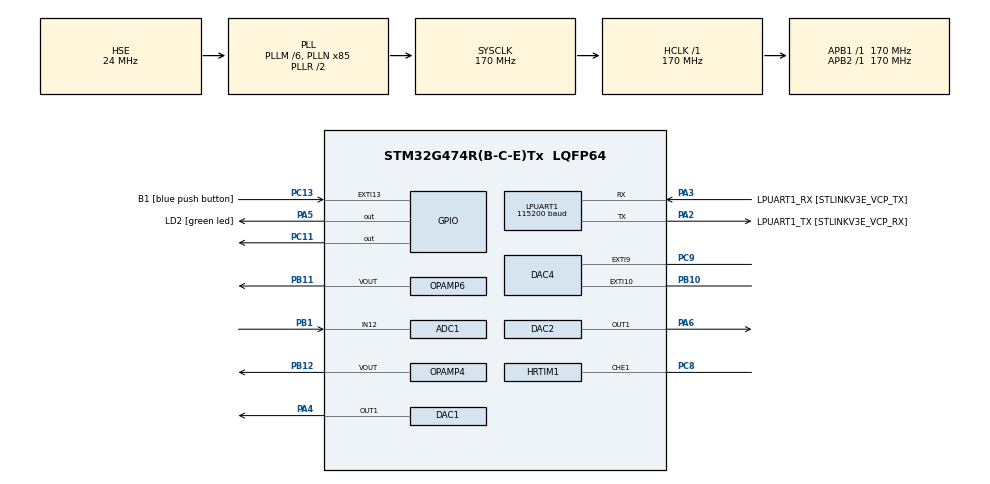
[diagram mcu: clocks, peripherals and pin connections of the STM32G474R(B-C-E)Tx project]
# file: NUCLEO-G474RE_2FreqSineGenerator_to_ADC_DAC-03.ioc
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Mcu.Family=STM32G4
HRTIM1.NumberSetSource1-Output_TE1=1
RCC.CortexFreq_Value=170000000
HRTIM1.InterleavedMode-Output_TE1=HRTIM_INTERLEAVED_MODE_DISABLED
Dma.DAC3_CH1.0.Polarity=HAL_DMAMUX_REQ_GEN_RISING
Dma.ADC1.1.MemDataAlignment=DMA_MDATAALIGN_WORD
ADC1.Overrun=ADC_OVR_DATA_OVERWRITTEN
Dma.DAC4_CH1.2.SyncPolarity=HAL_DMAMUX_SYNC_NO_EVENT
Dma.DAC3_CH1.0.MemInc=DMA_MINC_ENABLE
DAC2.DAC_HighFrequency_OUT1-DAC_OUT1=DAC_HIGH_FREQUENCY_INTERFACE_MODE_ABOVE_160MHZ
PA14.GPIO_Label=T_SWCLK
Dma.DAC3_CH1.0.PeriphInc=DMA_PINC_DISABLE
Dma.ADC1.1.SyncEnable=DISABLE
SH.COMP_DAC21_group.0=DAC2_OUT1,DAC_OUT1
Dma.DAC4_CH1.2.Polarity=HAL_DMAMUX_REQ_GEN_RISING
LPUART1.WordLength=UART_WORDLENGTH_8B
PC13.GPIO_Label=B1 [blue push button]
PB11.Signal=OPAMP6_VOUT
RCC.SYSCLKSource=RCC_SYSCLKSOURCE_PLLCLK
ProjectManager.StackSize=0x400
Dma.DAC3_CH1.0.MemDataAlignment=DMA_MDATAALIGN_WORD
Dma.DAC4_CH1.2.SyncRequestNumber=1
Dma.DAC3_CH1.0.SyncPolarity=HAL_DMAMUX_SYNC_NO_EVENT
Dma.DAC3_CH1.0.SyncEnable=DISABLE
HRTIM1.CompareUnit4-Output_TE1=HRTIM_COMPAREUNIT_4
Dma.ADC1.1.Instance=DMA1_Channel2
Dma.ADC1.1.SyncPolarity=HAL_DMAMUX_SYNC_NO_EVENT
DAC4.DAC_Trigger2_OUT1-DAC_OUT1_Int=DAC_TRIGGER_NONE
RCC.HCLKFreq_Value=170000000
RCC.APB2TimFreq_Value=170000000
DAC3.DAC_Trigger_OUT1-DAC_OUT1_Int=DAC_TRIGGER_T6_TRGO
Dma.ADC1.1.PeriphDataAlignment=DMA_PDATAALIGN_WORD
HRTIM1.CompareUnit3-Output_TE1=__NULL
HRTIM1.CompareUnit2-Output_TE1=__NULL
RCC.AHBFreq_Value=170000000
HRTIM1.NumberResetSource1-Output_TE1=1
HRTIM1.ORingUpdateSource_ADCTrigger1=HRTIM_ADCTRIGGERUPDATE_TIMER_E
Dma.DAC4_CH1.2.RequestNumber=1
ADC1.Channel-0\#ChannelRegularConversion=ADC_CHANNEL_12
RCC.HSE_VALUE=24000000
Dma.DAC4_CH1.2.MemDataAlignment=DMA_MDATAALIGN_WORD
PB3.Mode=Trace_Asynchronous_SW
OPAMP6.PowerMode=OPAMP_POWERMODE_HIGHSPEED
RCC.ADC12Freq_Value=170000000
RCC.RTCClockSelection=RCC_RTCCLKSOURCE_LSE
VP_DAC3_VS_DACI1.Mode=DAC_OUT1_Int
PC14-OSC32_IN.Mode=LSE-External-Oscillator
PA14.Mode=Trace_Asynchronous_SW
Dma.ADC1.1.Priority=DMA_PRIORITY_LOW
Dma.DAC4_CH1.2.SignalID=NONE
VP_SYS_VS_DBSignals.Mode=DisableDeadBatterySignals
HRTIM1.CompareValue4-Output_TE1=54400/2
Dma.ADC1.1.Mode=DMA_CIRCULAR
HRTIM1.ResetOutput1_Source1-Output_TE1=HRTIM_OUTPUTRESET_TIMCMP4
OPAMP4.PowerMode=OPAMP_POWERMODE_HIGHSPEED
ADC1.SamplingTime-0\#ChannelRegularConversion=ADC_SAMPLETIME_12CYCLES_5
DAC2.DAC_Trigger_OUT1-DAC_OUT1=DAC_TRIGGER_SOFTWARE
Dma.DAC4_CH1.2.Direction=DMA_MEMORY_TO_PERIPH
Mcu.Package=LQFP64
PB1.Signal=ADC1_IN12
PA6.Signal=COMP_DAC21_group
PB12.Mode=Follower-DAC_OUT2-INP
Dma.DAC3_CH1.0.Mode=DMA_CIRCULAR
DAC1.DAC_HighFrequency_OUT1-DAC_OUT1=DAC_HIGH_FREQUENCY_INTERFACE_MODE_ABOVE_160MHZ
Dma.ADC1.1.Direction=DMA_PERIPH_TO_MEMORY
TIM6.PeriodNoDither=5-1
PA2.GPIO_Label=LPUART1_TX [STLINKV3E_VCP_RX]
Dma.ADC1.1.MemInc=DMA_MINC_ENABLE
HRTIM1.ADCTrigger1_Source1=HRTIM_ADCTRIGGEREVENT13_TIMERE_PERIOD
HRTIM1.NumberADCTriggerSource1=1
Dma.Request2=DAC4_CH1
Dma.Request1=ADC1
RCC.APB1TimFreq_Value=170000000
PF1-OSC_OUT.Mode=HSE-External-Oscillator
Dma.Request0=DAC3_CH1
Dma.DAC4_CH1.2.SyncSignalID=NONE
PF1-OSC_OUT.Signal=RCC_OSC_OUT
RCC.HSI48_VALUE=48000000
PC9.GPIO_ModeDefaultEXTI=GPIO_MODE_IT_RISING_FALLING
Dma.ADC1.1.SignalID=NONE
PA3.Signal=LPUART1_RX
PB3.GPIO_Label=T_SWO
RCC.PLLSourceVirtual=RCC_PLLSOURCE_HSE
PC15-OSC32_OUT.Mode=LSE-External-Oscillator
ADC1.Rank-0\#ChannelRegularConversion=1
Dma.DAC4_CH1.2.PeriphInc=DMA_PINC_DISABLE
Dma.ADC1.1.SyncSignalID=NONE
ADC1.OffsetNumber-0\#ChannelRegularConversion=ADC_OFFSET_NONE
PC13.Signal=GPXTI13
PC11.Signal=GPIO_Output
Dma.ADC1.1.RequestNumber=1
PC8.Signal=HRTIM1_CHE1
TIM6.Prescaler=17-1
VP_TIM6_VS_ClockSourceINT.Mode=Enable_Timer
RCC.EXTERNAL_CLOCK_VALUE=12288000
PC14-OSC32_IN.Signal=RCC_OSC32_IN
Dma.DAC3_CH1.0.Instance=DMA1_Channel1
HRTIM1.PrescalerRatio_TE=HRTIM_PRESCALERRATIO_MUL16
Dma.DAC4_CH1.2.Mode=DMA_CIRCULAR
HRTIM1.CompareUnit1-Output_TE1=__NULL
PA13.Signal=SYS_JTMS-SWDIO
PA3.Mode=Asynchronous
DAC4.DAC_Trigger_OUT1-DAC_OUT1_Int=DAC_TRIGGER_EXT_IT9
DAC4.DAC_HighFrequency_OUT1-DAC_OUT1_Int=DAC_HIGH_FREQUENCY_INTERFACE_MODE_ABOVE_160MHZ
Dma.DAC3_CH1.0.Direction=DMA_MEMORY_TO_PERIPH
PB11.Mode=Follower-DAC_OUT2-INP
NVIC.DMA1_Channel2_IRQn=true\:0\:0\:false\:false\:true\:false\:true
ProjectManager.TargetToolchain=STM32CubeIDE
SH.COMP_DAC11_group.0=DAC1_OUT1,DAC_OUT1
VP_DAC4_VS_DACI1.Mode=DAC_OUT1_Int
RCC.USBFreq_Value=170000000
Dma.ADC1.1.Polarity=HAL_DMAMUX_REQ_GEN_RISING
PC15-OSC32_OUT.Signal=RCC_OSC32_OUT
PF0-OSC_IN.Mode=HSE-External-Oscillator
Dma.DAC4_CH1.2.SyncEnable=DISABLE
PB10.Signal=GPXTI10
Dma.DAC3_CH1.0.EventEnable=DISABLE
Dma.ADC1.1.SyncRequestNumber=1
PA5.Signal=GPIO_Output
HRTIM1.ADCTrigger_Id1=HRTIM_ADCTRIGGER_1
Dma.DAC3_CH1.0.SyncRequestNumber=1
board=NUCLEO-G474RE
RCC.VCOOutputFreq_Value=340000000
Dma.DAC4_CH1.2.Priority=DMA_PRIORITY_MEDIUM
RCC.ADC345Freq_Value=170000000
RCC.APB2Freq_Value=170000000
TIM6.TIM_MasterOutputTrigger=TIM_TRGO_UPDATE
Dma.DAC3_CH1.0.SignalID=NONE
Dma.ADC1.1.PeriphInc=DMA_PINC_DISABLE
ADC1.DMAContinuousRequests=ENABLE
PA13.Mode=Trace_Asynchronous_SW
PB10.GPIO_ModeDefaultEXTI=GPIO_MODE_IT_FALLING
Mcu.Name=STM32G474R(B-C-E)Tx
LPUART1.BaudRate=115200
PA13.GPIO_Label=T_SWDIO
PA2.Signal=LPUART1_TX
HRTIM1.SetOutput1_Source1-Output_TE1=HRTIM_OUTPUTSET_TIMPER
Dma.DAC3_CH1.0.PeriphDataAlignment=DMA_PDATAALIGN_WORD
ADC1.ExternalTrigConv=ADC_EXTERNALTRIG_HRTIM_TRG1
Dma.DAC3_CH1.0.Priority=DMA_PRIORITY_HIGH
PC8.Mode=Output_TE1
PC8.GPIO_Speed_High_Default=GPIO_SPEED_FREQ_LOW
PB3.Signal=SYS_JTDO-SWO
PA4.Signal=COMP_DAC11_group
RCC.SYSCLKFreq_VALUE=170000000
ADC1.master=1
DAC3.DAC_HighFrequency_OUT1-DAC_OUT1_Int=DAC_HIGH_FREQUENCY_INTERFACE_MODE_ABOVE_160MHZ
PA5.GPIO_Label=LD2 [green led]
Dma.DAC3_CH1.0.RequestNumber=1
PA14.Signal=SYS_JTCK-SWCLK
NVIC.DMA2_Channel1_IRQn=true\:0\:0\:false\:false\:true\:false\:true
ProjectManager.HeapSize=0x200
PB1.Mode=IN12-Single-Ended
RCC.HSI_VALUE=16000000
NVIC.PriorityGroup=NVIC_PRIORITYGROUP_4
ADC1.NbrOfConversionFlag=1
RCC.PLLM=RCC_PLLM_DIV6
Dma.DAC4_CH1.2.MemInc=DMA_MINC_ENABLE
RCC.PLLN=85
Dma.DAC3_CH1.0.SyncSignalID=NONE
Dma.DAC4_CH1.2.EventEnable=DISABLE
PA2.Mode=Asynchronous
Dma.DAC4_CH1.2.Instance=DMA2_Channel1
PC9.Signal=GPXTI9
NVIC.DMA1_Channel1_IRQn=true\:0\:0\:false\:false\:true\:false\:true
PF0-OSC_IN.Signal=RCC_OSC_IN
Dma.ADC1.1.EventEnable=DISABLE
Dma.DAC4_CH1.2.PeriphDataAlignment=DMA_PDATAALIGN_WORD
RCC.APB1Freq_Value=170000000
PB12.Signal=OPAMP4_VOUT
HRTIM1.Periode_TE=54400
PA3.GPIO_Label=LPUART1_RX [STLINKV3E_VCP_TX]

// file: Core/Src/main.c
/* USER CODE BEGIN Header */
/**
  ******************************************************************************
  * @file           : main.c
  * @brief          : Main program body
  ******************************************************************************
  * @attention
  *
  * <h2><center>&copy; Copyright (c) 2021 STMicroelectronics.
  * All rights reserved.</center></h2>
  *
  * This software component is licensed by ST under BSD 3-Clause license,
  * the "License"; You may not use this file except in compliance with the
  * License. You may obtain a copy of the License at:
  *                        opensource.org/licenses/BSD-3-Clause
  *
  ******************************************************************************
  */
/* USER CODE END Header */
#include "main.h"

/* USER CODE BEGIN Includes */

#include "waveforms.h"
#include <stdio.h>
#include "stm32g4xx_hal_dma.h"

/* USER CODE END Includes */

/* USER CODE BEGIN PD */

# define MySine4000_SIZE MySine2000_SIZE

/* USER CODE END PD */

ADC_HandleTypeDef hadc1;
DMA_HandleTypeDef hdma_adc1;

DAC_HandleTypeDef hdac1;
DAC_HandleTypeDef hdac2;
DAC_HandleTypeDef hdac3;
DAC_HandleTypeDef hdac4;
DMA_HandleTypeDef hdma_dac3_ch1;
DMA_HandleTypeDef hdma_dac4_ch1;

HRTIM_HandleTypeDef hhrtim1;

UART_HandleTypeDef hlpuart1;

OPAMP_HandleTypeDef hopamp4;
OPAMP_HandleTypeDef hopamp6;

TIM_HandleTypeDef htim6;

/* USER CODE BEGIN PV */

uint32_t MySine4000[MySine4000_SIZE];
uint32_t pass, period;
uint32_t adc_dac_value;

/* USER CODE END PV */

void SystemClock_Config(void);
static void MX_GPIO_Init(void);
static void MX_DMA_Init(void);
static void MX_LPUART1_UART_Init(void);
static void MX_DAC3_Init(void);
static void MX_OPAMP6_Init(void);
static void MX_TIM6_Init(void);
static void MX_HRTIM1_Init(void);
static void MX_DAC4_Init(void);
static void MX_OPAMP4_Init(void);
static void MX_ADC1_Init(void);
static void MX_DAC1_Init(void);
static void MX_DAC2_Init(void);
/* USER CODE BEGIN PFP */

#define PUTCHAR_PROTOTYPE int __io_putchar(int ch)

/* USER CODE END PFP */

int main(void)
{

  /* MCU Configuration--------------------------------------------------------*/

  /* Reset of all peripherals, Initializes the Flash interface and the Systick. */
  HAL_Init();

  /* Configure the system clock */
  SystemClock_Config();

  /* Initialize all configured peripherals */
  MX_GPIO_Init();
  MX_DMA_Init();
  MX_LPUART1_UART_Init();
  MX_DAC3_Init();
  MX_OPAMP6_Init();
  MX_TIM6_Init();
  MX_HRTIM1_Init();
  MX_DAC4_Init();
  MX_OPAMP4_Init();
  MX_ADC1_Init();
  MX_DAC1_Init();
  MX_DAC2_Init();
  /* USER CODE BEGIN 2 */

  for (uint16_t cntr = 0; cntr < MySine2000_SIZE; cntr++)
  {
	  MySine2000[cntr] += 682;
	  MySine2000[cntr] += MySine200[cntr % MySine200_SIZE];
  }

  /*##- Enable DAC Channel and associated DMA ##############################*/
  if(HAL_OK != HAL_DAC_Start_DMA(&hdac3, DAC_CHANNEL_1,
  				   (uint32_t*)MySine2000, MySine2000_SIZE, DAC_ALIGN_12B_R))
  {
  	/* Start DMA Error */
  	Error_Handler();
  }

  /*##- Enable DAC Channel ##############################*/
  if(HAL_OK != HAL_DAC_Start(&hdac1, DAC_CHANNEL_1))
  {
  	/* Start Error */
  	Error_Handler();
  }

  /*##- Enable DAC Channel ##############################*/
  if(HAL_OK != HAL_DAC_Start(&hdac2, DAC_CHANNEL_1))
  {
  	/* Start Error */
  	Error_Handler();
  }

  /*##- Enable DAC Channel and associated DMA ##############################*/
  if(HAL_OK != HAL_DAC_Start_DMA(&hdac4, DAC_CHANNEL_1,
  				   				&adc_dac_value, 1, DAC_ALIGN_12B_R))
  {
  	/* Start DMA Error */
  	Error_Handler();
  }

  /*##- Start OPAMP    #####################################################*/
  /* Enable OPAMP */
  if(HAL_OK != HAL_OPAMP_Start(&hopamp6))
  {
  	Error_Handler();
  }

  /*##- Start OPAMP    #####################################################*/
  /* Enable OPAMP */
  if(HAL_OK != HAL_OPAMP_Start(&hopamp4))
  {
  	Error_Handler();
  }

  /*##- Enable ADC Channel and associated DMA ##############################*/
  if(HAL_OK != HAL_ADC_Start_DMA(&hadc1, &adc_dac_value, 1))
  {
  	/* Start DMA Error */
  	Error_Handler();
  }

    /*##- Enable TIM peripheral counter ######################################*/
    if(HAL_OK != HAL_TIM_Base_Start(&htim6))
    {
    	Error_Handler();
    }

  HAL_HRTIM_WaveformOutputStart(&hhrtim1, HRTIM_OUTPUT_TA1 | HRTIM_OUTPUT_TE1 );
  HAL_HRTIM_WaveformCounterStart_IT(&hhrtim1, HRTIM_TIMERID_TIMER_A | HRTIM_TIMERID_TIMER_E);

//  HAL_DAC_SetValue(&hdac1, DAC_CHANNEL_1, DAC_ALIGN_12B_R, 1000);
//  HAL_DAC_SetValue(&hdac2, DAC_CHANNEL_1, DAC_ALIGN_12B_R, 1000);

  /* USER CODE END 2 */

  /* Infinite loop */
  while (1)
  {

  }
}

void SystemClock_Config(void)
{
  RCC_OscInitTypeDef RCC_OscInitStruct = {0};
  RCC_ClkInitTypeDef RCC_ClkInitStruct = {0};
  RCC_PeriphCLKInitTypeDef PeriphClkInit = {0};

  /** Configure the main internal regulator output voltage
  */
  HAL_PWREx_ControlVoltageScaling(PWR_REGULATOR_VOLTAGE_SCALE1_BOOST);
  /** Initializes the RCC Oscillators according to the specified parameters
  * in the RCC_OscInitTypeDef structure.
  */
  RCC_OscInitStruct.OscillatorType = RCC_OSCILLATORTYPE_HSE;
  RCC_OscInitStruct.HSEState = RCC_HSE_ON;
  RCC_OscInitStruct.PLL.PLLState = RCC_PLL_ON;
  RCC_OscInitStruct.PLL.PLLSource = RCC_PLLSOURCE_HSE;
  RCC_OscInitStruct.PLL.PLLM = RCC_PLLM_DIV6;
  RCC_OscInitStruct.PLL.PLLN = 85;
  RCC_OscInitStruct.PLL.PLLP = RCC_PLLP_DIV2;
  RCC_OscInitStruct.PLL.PLLQ = RCC_PLLQ_DIV2;
  RCC_OscInitStruct.PLL.PLLR = RCC_PLLR_DIV2;
  if (HAL_RCC_OscConfig(&RCC_OscInitStruct) != HAL_OK)
  {
    Error_Handler();
  }
  /** Initializes the CPU, AHB and APB buses clocks
  */
  RCC_ClkInitStruct.ClockType = RCC_CLOCKTYPE_HCLK|RCC_CLOCKTYPE_SYSCLK
                              |RCC_CLOCKTYPE_PCLK1|RCC_CLOCKTYPE_PCLK2;
  RCC_ClkInitStruct.SYSCLKSource = RCC_SYSCLKSOURCE_PLLCLK;
  RCC_ClkInitStruct.AHBCLKDivider = RCC_SYSCLK_DIV1;
  RCC_ClkInitStruct.APB1CLKDivider = RCC_HCLK_DIV1;
  RCC_ClkInitStruct.APB2CLKDivider = RCC_HCLK_DIV1;

  if (HAL_RCC_ClockConfig(&RCC_ClkInitStruct, FLASH_LATENCY_4) != HAL_OK)
  {
    Error_Handler();
  }
  /** Initializes the peripherals clocks
  */
  PeriphClkInit.PeriphClockSelection = RCC_PERIPHCLK_LPUART1|RCC_PERIPHCLK_ADC12;
  PeriphClkInit.Lpuart1ClockSelection = RCC_LPUART1CLKSOURCE_PCLK1;
  PeriphClkInit.Adc12ClockSelection = RCC_ADC12CLKSOURCE_SYSCLK;
  if (HAL_RCCEx_PeriphCLKConfig(&PeriphClkInit) != HAL_OK)
  {
    Error_Handler();
  }
}

static void MX_ADC1_Init(void)
{

  ADC_MultiModeTypeDef multimode = {0};
  ADC_ChannelConfTypeDef sConfig = {0};

  /** Common config
  */
  hadc1.Instance = ADC1;
  hadc1.Init.ClockPrescaler = ADC_CLOCK_SYNC_PCLK_DIV4;
  hadc1.Init.Resolution = ADC_RESOLUTION_12B;
  hadc1.Init.DataAlign = ADC_DATAALIGN_RIGHT;
  hadc1.Init.GainCompensation = 0;
  hadc1.Init.ScanConvMode = ADC_SCAN_DISABLE;
  hadc1.Init.EOCSelection = ADC_EOC_SINGLE_CONV;
  hadc1.Init.LowPowerAutoWait = DISABLE;
  hadc1.Init.ContinuousConvMode = DISABLE;
  hadc1.Init.NbrOfConversion = 1;
  hadc1.Init.DiscontinuousConvMode = DISABLE;
  hadc1.Init.ExternalTrigConv = ADC_EXTERNALTRIG_HRTIM_TRG1;
  hadc1.Init.ExternalTrigConvEdge = ADC_EXTERNALTRIGCONVEDGE_RISING;
  hadc1.Init.DMAContinuousRequests = ENABLE;
  hadc1.Init.Overrun = ADC_OVR_DATA_OVERWRITTEN;
  hadc1.Init.OversamplingMode = DISABLE;
  if (HAL_ADC_Init(&hadc1) != HAL_OK)
  {
    Error_Handler();
  }
  /** Configure the ADC multi-mode
  */
  multimode.Mode = ADC_MODE_INDEPENDENT;
  if (HAL_ADCEx_MultiModeConfigChannel(&hadc1, &multimode) != HAL_OK)
  {
    Error_Handler();
  }
  /** Configure Regular Channel
  */
  sConfig.Channel = ADC_CHANNEL_12;
  sConfig.Rank = ADC_REGULAR_RANK_1;
  sConfig.SamplingTime = ADC_SAMPLETIME_12CYCLES_5;
  sConfig.SingleDiff = ADC_SINGLE_ENDED;
  sConfig.OffsetNumber = ADC_OFFSET_NONE;
  sConfig.Offset = 0;
  if (HAL_ADC_ConfigChannel(&hadc1, &sConfig) != HAL_OK)
  {
    Error_Handler();
  }
  /* USER CODE BEGIN ADC1_Init 2 */

  /* Run the ADC calibration in single-ended mode */
  if (HAL_ADCEx_Calibration_Start(&hadc1, ADC_SINGLE_ENDED) != HAL_OK)
  {
    /* Calibration Error */
    Error_Handler();
  }

  /* USER CODE END ADC1_Init 2 */

}

static void MX_DAC1_Init(void)
{

  DAC_ChannelConfTypeDef sConfig = {0};

  /** DAC Initialization
  */
  hdac1.Instance = DAC1;
  if (HAL_DAC_Init(&hdac1) != HAL_OK)
  {
    Error_Handler();
  }
  /** DAC channel OUT1 config
  */
  sConfig.DAC_HighFrequency = DAC_HIGH_FREQUENCY_INTERFACE_MODE_ABOVE_160MHZ;
  sConfig.DAC_DMADoubleDataMode = DISABLE;
  sConfig.DAC_SignedFormat = DISABLE;
  sConfig.DAC_SampleAndHold = DAC_SAMPLEANDHOLD_DISABLE;
  sConfig.DAC_Trigger = DAC_TRIGGER_NONE;
  sConfig.DAC_Trigger2 = DAC_TRIGGER_NONE;
  sConfig.DAC_OutputBuffer = DAC_OUTPUTBUFFER_ENABLE;
  sConfig.DAC_ConnectOnChipPeripheral = DAC_CHIPCONNECT_EXTERNAL;
  sConfig.DAC_UserTrimming = DAC_TRIMMING_FACTORY;
  if (HAL_DAC_ConfigChannel(&hdac1, &sConfig, DAC_CHANNEL_1) != HAL_OK)
  {
    Error_Handler();
  }

}

static void MX_DAC2_Init(void)
{

  DAC_ChannelConfTypeDef sConfig = {0};

  /** DAC Initialization
  */
  hdac2.Instance = DAC2;
  if (HAL_DAC_Init(&hdac2) != HAL_OK)
  {
    Error_Handler();
  }
  /** DAC channel OUT1 config
  */
  sConfig.DAC_HighFrequency = DAC_HIGH_FREQUENCY_INTERFACE_MODE_ABOVE_160MHZ;
  sConfig.DAC_DMADoubleDataMode = DISABLE;
  sConfig.DAC_SignedFormat = DISABLE;
  sConfig.DAC_SampleAndHold = DAC_SAMPLEANDHOLD_DISABLE;
  sConfig.DAC_Trigger = DAC_TRIGGER_SOFTWARE;
  sConfig.DAC_Trigger2 = DAC_TRIGGER_NONE;
  sConfig.DAC_OutputBuffer = DAC_OUTPUTBUFFER_ENABLE;
  sConfig.DAC_ConnectOnChipPeripheral = DAC_CHIPCONNECT_EXTERNAL;
  sConfig.DAC_UserTrimming = DAC_TRIMMING_FACTORY;
  if (HAL_DAC_ConfigChannel(&hdac2, &sConfig, DAC_CHANNEL_1) != HAL_OK)
  {
    Error_Handler();
  }

}

static void MX_DAC3_Init(void)
{

  DAC_ChannelConfTypeDef sConfig = {0};

  /** DAC Initialization
  */
  hdac3.Instance = DAC3;
  if (HAL_DAC_Init(&hdac3) != HAL_OK)
  {
    Error_Handler();
  }
  /** DAC channel OUT1 config
  */
  sConfig.DAC_HighFrequency = DAC_HIGH_FREQUENCY_INTERFACE_MODE_ABOVE_160MHZ;
  sConfig.DAC_DMADoubleDataMode = DISABLE;
  sConfig.DAC_SignedFormat = DISABLE;
  sConfig.DAC_SampleAndHold = DAC_SAMPLEANDHOLD_DISABLE;
  sConfig.DAC_Trigger = DAC_TRIGGER_T6_TRGO;
  sConfig.DAC_Trigger2 = DAC_TRIGGER_NONE;
  sConfig.DAC_OutputBuffer = DAC_OUTPUTBUFFER_DISABLE;
  sConfig.DAC_ConnectOnChipPeripheral = DAC_CHIPCONNECT_INTERNAL;
  sConfig.DAC_UserTrimming = DAC_TRIMMING_FACTORY;
  if (HAL_DAC_ConfigChannel(&hdac3, &sConfig, DAC_CHANNEL_1) != HAL_OK)
  {
    Error_Handler();
  }

}

static void MX_DAC4_Init(void)
{

  DAC_ChannelConfTypeDef sConfig = {0};

  /** DAC Initialization
  */
  hdac4.Instance = DAC4;
  if (HAL_DAC_Init(&hdac4) != HAL_OK)
  {
    Error_Handler();
  }
  /** DAC channel OUT1 config
  */
  sConfig.DAC_HighFrequency = DAC_HIGH_FREQUENCY_INTERFACE_MODE_ABOVE_160MHZ;
  sConfig.DAC_DMADoubleDataMode = DISABLE;
  sConfig.DAC_SignedFormat = DISABLE;
  sConfig.DAC_SampleAndHold = DAC_SAMPLEANDHOLD_DISABLE;
  sConfig.DAC_Trigger = DAC_TRIGGER_EXT_IT9;
  sConfig.DAC_Trigger2 = DAC_TRIGGER_NONE;
  sConfig.DAC_OutputBuffer = DAC_OUTPUTBUFFER_DISABLE;
  sConfig.DAC_ConnectOnChipPeripheral = DAC_CHIPCONNECT_INTERNAL;
  sConfig.DAC_UserTrimming = DAC_TRIMMING_FACTORY;
  if (HAL_DAC_ConfigChannel(&hdac4, &sConfig, DAC_CHANNEL_1) != HAL_OK)
  {
    Error_Handler();
  }

}

static void MX_HRTIM1_Init(void)
{

  HRTIM_ADCTriggerCfgTypeDef pADCTriggerCfg = {0};
  HRTIM_TimeBaseCfgTypeDef pTimeBaseCfg = {0};
  HRTIM_TimerCtlTypeDef pTimerCtl = {0};
  HRTIM_TimerCfgTypeDef pTimerCfg = {0};
  HRTIM_CompareCfgTypeDef pCompareCfg = {0};
  HRTIM_OutputCfgTypeDef pOutputCfg = {0};

  hhrtim1.Instance = HRTIM1;
  hhrtim1.Init.HRTIMInterruptResquests = HRTIM_IT_NONE;
  hhrtim1.Init.SyncOptions = HRTIM_SYNCOPTION_NONE;
  if (HAL_HRTIM_Init(&hhrtim1) != HAL_OK)
  {
    Error_Handler();
  }
  if (HAL_HRTIM_DLLCalibrationStart(&hhrtim1, HRTIM_CALIBRATIONRATE_3) != HAL_OK)
  {
    Error_Handler();
  }
  if (HAL_HRTIM_PollForDLLCalibration(&hhrtim1, 10) != HAL_OK)
  {
    Error_Handler();
  }
  pADCTriggerCfg.UpdateSource = HRTIM_ADCTRIGGERUPDATE_TIMER_E;
  pADCTriggerCfg.Trigger = HRTIM_ADCTRIGGEREVENT13_TIMERE_PERIOD;
  if (HAL_HRTIM_ADCTriggerConfig(&hhrtim1, HRTIM_ADCTRIGGER_1, &pADCTriggerCfg) != HAL_OK)
  {
    Error_Handler();
  }
  if (HAL_HRTIM_ADCPostScalerConfig(&hhrtim1, HRTIM_ADCTRIGGER_1, 0x0) != HAL_OK)
  {
    Error_Handler();
  }
  pTimeBaseCfg.Period = 54400;
  pTimeBaseCfg.RepetitionCounter = 0x00;
  pTimeBaseCfg.PrescalerRatio = HRTIM_PRESCALERRATIO_MUL16;
  pTimeBaseCfg.Mode = HRTIM_MODE_CONTINUOUS;
  if (HAL_HRTIM_TimeBaseConfig(&hhrtim1, HRTIM_TIMERINDEX_TIMER_E, &pTimeBaseCfg) != HAL_OK)
  {
    Error_Handler();
  }
  pTimerCtl.UpDownMode = HRTIM_TIMERUPDOWNMODE_UP;
  pTimerCtl.DualChannelDacEnable = HRTIM_TIMER_DCDE_DISABLED;
  if (HAL_HRTIM_WaveformTimerControl(&hhrtim1, HRTIM_TIMERINDEX_TIMER_E, &pTimerCtl) != HAL_OK)
  {
    Error_Handler();
  }
  pTimerCfg.InterruptRequests = HRTIM_MASTER_IT_NONE;
  pTimerCfg.DMARequests = HRTIM_TIM_DMA_NONE;
  pTimerCfg.DMASrcAddress = 0x0000;
  pTimerCfg.DMADstAddress = 0x0000;
  pTimerCfg.DMASize = 0x1;
  pTimerCfg.HalfModeEnable = HRTIM_HALFMODE_DISABLED;
  pTimerCfg.InterleavedMode = HRTIM_INTERLEAVED_MODE_DISABLED;
  pTimerCfg.StartOnSync = HRTIM_SYNCSTART_DISABLED;
  pTimerCfg.ResetOnSync = HRTIM_SYNCRESET_DISABLED;
  pTimerCfg.DACSynchro = HRTIM_DACSYNC_NONE;
  pTimerCfg.PreloadEnable = HRTIM_PRELOAD_DISABLED;
  pTimerCfg.UpdateGating = HRTIM_UPDATEGATING_INDEPENDENT;
  pTimerCfg.BurstMode = HRTIM_TIMERBURSTMODE_MAINTAINCLOCK;
  pTimerCfg.RepetitionUpdate = HRTIM_UPDATEONREPETITION_DISABLED;
  pTimerCfg.PushPull = HRTIM_TIMPUSHPULLMODE_DISABLED;
  pTimerCfg.FaultEnable = HRTIM_TIMFAULTENABLE_NONE;
  pTimerCfg.FaultLock = HRTIM_TIMFAULTLOCK_READWRITE;
  pTimerCfg.DeadTimeInsertion = HRTIM_TIMDEADTIMEINSERTION_DISABLED;
  pTimerCfg.DelayedProtectionMode = HRTIM_TIMER_D_E_DELAYEDPROTECTION_DISABLED;
  pTimerCfg.UpdateTrigger = HRTIM_TIMUPDATETRIGGER_NONE;
  pTimerCfg.ResetTrigger = HRTIM_TIMRESETTRIGGER_NONE;
  pTimerCfg.ResetUpdate = HRTIM_TIMUPDATEONRESET_DISABLED;
  pTimerCfg.ReSyncUpdate = HRTIM_TIMERESYNC_UPDATE_UNCONDITIONAL;
  if (HAL_HRTIM_WaveformTimerConfig(&hhrtim1, HRTIM_TIMERINDEX_TIMER_E, &pTimerCfg) != HAL_OK)
  {
    Error_Handler();
  }
  pCompareCfg.CompareValue = 54400/2;
  pCompareCfg.AutoDelayedMode = HRTIM_AUTODELAYEDMODE_REGULAR;
  pCompareCfg.AutoDelayedTimeout = 0x0000;

  if (HAL_HRTIM_WaveformCompareConfig(&hhrtim1, HRTIM_TIMERINDEX_TIMER_E, HRTIM_COMPAREUNIT_4, &pCompareCfg) != HAL_OK)
  {
    Error_Handler();
  }
  pOutputCfg.Polarity = HRTIM_OUTPUTPOLARITY_HIGH;
  pOutputCfg.SetSource = HRTIM_OUTPUTSET_TIMPER;
  pOutputCfg.ResetSource = HRTIM_OUTPUTRESET_TIMCMP4;
  pOutputCfg.IdleMode = HRTIM_OUTPUTIDLEMODE_NONE;
  pOutputCfg.IdleLevel = HRTIM_OUTPUTIDLELEVEL_INACTIVE;
  pOutputCfg.FaultLevel = HRTIM_OUTPUTFAULTLEVEL_NONE;
  pOutputCfg.ChopperModeEnable = HRTIM_OUTPUTCHOPPERMODE_DISABLED;
  pOutputCfg.BurstModeEntryDelayed = HRTIM_OUTPUTBURSTMODEENTRY_REGULAR;
  if (HAL_HRTIM_WaveformOutputConfig(&hhrtim1, HRTIM_TIMERINDEX_TIMER_E, HRTIM_OUTPUT_TE1, &pOutputCfg) != HAL_OK)
  {
    Error_Handler();
  }
  HAL_HRTIM_MspPostInit(&hhrtim1);

}

static void MX_LPUART1_UART_Init(void)
{

  hlpuart1.Instance = LPUART1;
  hlpuart1.Init.BaudRate = 115200;
  hlpuart1.Init.WordLength = UART_WORDLENGTH_8B;
  hlpuart1.Init.StopBits = UART_STOPBITS_1;
  hlpuart1.Init.Parity = UART_PARITY_NONE;
  hlpuart1.Init.Mode = UART_MODE_TX_RX;
  hlpuart1.Init.HwFlowCtl = UART_HWCONTROL_NONE;
  hlpuart1.Init.OneBitSampling = UART_ONE_BIT_SAMPLE_DISABLE;
  hlpuart1.Init.ClockPrescaler = UART_PRESCALER_DIV1;
  hlpuart1.AdvancedInit.AdvFeatureInit = UART_ADVFEATURE_NO_INIT;
  if (HAL_UART_Init(&hlpuart1) != HAL_OK)
  {
    Error_Handler();
  }
  if (HAL_UARTEx_SetTxFifoThreshold(&hlpuart1, UART_TXFIFO_THRESHOLD_1_8) != HAL_OK)
  {
    Error_Handler();
  }
  if (HAL_UARTEx_SetRxFifoThreshold(&hlpuart1, UART_RXFIFO_THRESHOLD_1_8) != HAL_OK)
  {
    Error_Handler();
  }
  if (HAL_UARTEx_DisableFifoMode(&hlpuart1) != HAL_OK)
  {
    Error_Handler();
  }

}

static void MX_OPAMP4_Init(void)
{

  hopamp4.Instance = OPAMP4;
  hopamp4.Init.PowerMode = OPAMP_POWERMODE_HIGHSPEED;
  hopamp4.Init.Mode = OPAMP_FOLLOWER_MODE;
  hopamp4.Init.NonInvertingInput = OPAMP_NONINVERTINGINPUT_DAC;
  hopamp4.Init.InternalOutput = DISABLE;
  hopamp4.Init.TimerControlledMuxmode = OPAMP_TIMERCONTROLLEDMUXMODE_DISABLE;
  hopamp4.Init.UserTrimming = OPAMP_TRIMMING_FACTORY;
  if (HAL_OPAMP_Init(&hopamp4) != HAL_OK)
  {
    Error_Handler();
  }

}

static void MX_OPAMP6_Init(void)
{

  hopamp6.Instance = OPAMP6;
  hopamp6.Init.PowerMode = OPAMP_POWERMODE_HIGHSPEED;
  hopamp6.Init.Mode = OPAMP_FOLLOWER_MODE;
  hopamp6.Init.NonInvertingInput = OPAMP_NONINVERTINGINPUT_DAC;
  hopamp6.Init.InternalOutput = DISABLE;
  hopamp6.Init.TimerControlledMuxmode = OPAMP_TIMERCONTROLLEDMUXMODE_DISABLE;
  hopamp6.Init.UserTrimming = OPAMP_TRIMMING_FACTORY;
  if (HAL_OPAMP_Init(&hopamp6) != HAL_OK)
  {
    Error_Handler();
  }

}

static void MX_TIM6_Init(void)
{

  TIM_MasterConfigTypeDef sMasterConfig = {0};

  htim6.Instance = TIM6;
  htim6.Init.Prescaler = 17-1;
  htim6.Init.CounterMode = TIM_COUNTERMODE_UP;
  htim6.Init.Period = 4;
  htim6.Init.AutoReloadPreload = TIM_AUTORELOAD_PRELOAD_DISABLE;
  if (HAL_TIM_Base_Init(&htim6) != HAL_OK)
  {
    Error_Handler();
  }
  sMasterConfig.MasterOutputTrigger = TIM_TRGO_UPDATE;
  sMasterConfig.MasterSlaveMode = TIM_MASTERSLAVEMODE_DISABLE;
  if (HAL_TIMEx_MasterConfigSynchronization(&htim6, &sMasterConfig) != HAL_OK)
  {
    Error_Handler();
  }

}

static void MX_DMA_Init(void)
{

  /* DMA controller clock enable */
  __HAL_RCC_DMAMUX1_CLK_ENABLE();
  __HAL_RCC_DMA1_CLK_ENABLE();
  __HAL_RCC_DMA2_CLK_ENABLE();

  /* DMA interrupt init */
  /* DMA1_Channel1_IRQn interrupt configuration */
  HAL_NVIC_SetPriority(DMA1_Channel1_IRQn, 0, 0);
  HAL_NVIC_EnableIRQ(DMA1_Channel1_IRQn);
  /* DMA1_Channel2_IRQn interrupt configuration */
  HAL_NVIC_SetPriority(DMA1_Channel2_IRQn, 0, 0);
  HAL_NVIC_EnableIRQ(DMA1_Channel2_IRQn);
  /* DMA2_Channel1_IRQn interrupt configuration */
  HAL_NVIC_SetPriority(DMA2_Channel1_IRQn, 0, 0);
  HAL_NVIC_EnableIRQ(DMA2_Channel1_IRQn);

}

static void MX_GPIO_Init(void)
{
  GPIO_InitTypeDef GPIO_InitStruct = {0};

  /* GPIO Ports Clock Enable */
  __HAL_RCC_GPIOC_CLK_ENABLE();
  __HAL_RCC_GPIOF_CLK_ENABLE();
  __HAL_RCC_GPIOA_CLK_ENABLE();
  __HAL_RCC_GPIOB_CLK_ENABLE();

  /*Configure GPIO pin Output Level */
  HAL_GPIO_WritePin(LD2_GPIO_Port, LD2_Pin, GPIO_PIN_RESET);

  /*Configure GPIO pin Output Level */
  HAL_GPIO_WritePin(GPIOC, GPIO_PIN_11, GPIO_PIN_RESET);

  /*Configure GPIO pin : B1_Pin */
  GPIO_InitStruct.Pin = B1_Pin;
  GPIO_InitStruct.Mode = GPIO_MODE_IT_RISING;
  GPIO_InitStruct.Pull = GPIO_NOPULL;
  HAL_GPIO_Init(B1_GPIO_Port, &GPIO_InitStruct);

  /*Configure GPIO pin : LD2_Pin */
  GPIO_InitStruct.Pin = LD2_Pin;
  GPIO_InitStruct.Mode = GPIO_MODE_OUTPUT_PP;
  GPIO_InitStruct.Pull = GPIO_NOPULL;
  GPIO_InitStruct.Speed = GPIO_SPEED_FREQ_LOW;
  HAL_GPIO_Init(LD2_GPIO_Port, &GPIO_InitStruct);

  /*Configure GPIO pin : PB10 */
  GPIO_InitStruct.Pin = GPIO_PIN_10;
  GPIO_InitStruct.Mode = GPIO_MODE_IT_FALLING;
  GPIO_InitStruct.Pull = GPIO_NOPULL;
  HAL_GPIO_Init(GPIOB, &GPIO_InitStruct);

  /*Configure GPIO pin : PC9 */
  GPIO_InitStruct.Pin = GPIO_PIN_9;
  GPIO_InitStruct.Mode = GPIO_MODE_IT_RISING_FALLING;
  GPIO_InitStruct.Pull = GPIO_NOPULL;
  HAL_GPIO_Init(GPIOC, &GPIO_InitStruct);

  /*Configure GPIO pin : PC11 */
  GPIO_InitStruct.Pin = GPIO_PIN_11;
  GPIO_InitStruct.Mode = GPIO_MODE_OUTPUT_PP;
  GPIO_InitStruct.Pull = GPIO_NOPULL;
  GPIO_InitStruct.Speed = GPIO_SPEED_FREQ_LOW;
  HAL_GPIO_Init(GPIOC, &GPIO_InitStruct);

}

/* USER CODE BEGIN 4 */

PUTCHAR_PROTOTYPE
{
  /* Place your implementation of fputc here */
  /* e.g. write a character to the LPUART1 and Loop until the end of transmission */
  HAL_UART_Transmit(&hlpuart1, (uint8_t *)&ch, 1, 0xFFFF);

  return ch;
}

HAL_ADC_ConvCpltCallback(ADC_HandleTypeDef *hadc)
{
  /* Prevent unused argument(s) compilation warning */
  UNUSED(hadc);

  /* NOTE : This function should not be modified. When the callback is needed,
            function HAL_ADC_ConvCpltCallback must be implemented in the user file.
   */

//  HAL_GPIO_WritePin(GPIOA, GPIO_PIN_5, SET);
  HAL_GPIO_TogglePin(GPIOC, GPIO_PIN_11);
//  adc_data = HAL_ADC_GetValue(hadc);
  HAL_DAC_SetValue(&hdac1, DAC_CHANNEL_1, DAC_ALIGN_12B_R, adc_dac_value);
}

//void HAL_DAC_ConvCpltCallbackCh1(DAC_HandleTypeDef *hdac)
//{
//  /* Prevent unused argument(s) compilation warning */
//  UNUSED(hdac);
//
//  /* NOTE : This function should not be modified, when the callback is needed,
//            the HAL_DAC_ConvCpltCallbackCh1 could be implemented in the user file
//   */
//
//  GPIOC->BSRR = (1<<(8));
//  period++;
//  if (period == 3)
//  {
//	  period = 0;
//	  if (pass == 1)
//	  {
//		  pass = 0;
//		  hdma_dac3_ch1.Instance->CMAR = MySine4000;
//	  }
//	  else
//	  {
//		  pass = 1;
//		  hdma_dac3_ch1.Instance->CMAR = MySine2000;
//	  }
//  }
//  GPIOC->BSRR = (1<<(8+16));
//
////  hdma_dac3_ch1.Instance->CMAR = MySine4000;
//
//}

//void HAL_DAC_ConvHalfCpltCallbackCh1(DAC_HandleTypeDef *hdac)
//{
//  /* Prevent unused argument(s) compilation warning */
//  UNUSED(hdac);
//
//  /* NOTE : This function should not be modified, when the callback is needed,
//            the HAL_DAC_ConvHalfCpltCallbackCh1 could be implemented in the user file
//   */
//
//  hdma_dac3_ch1.Instance->CMAR = MySine2000;
//
//}

/* USER CODE END 4 */

void Error_Handler(void)
{
  /* USER CODE BEGIN Error_Handler_Debug */
  /* User can add his own implementation to report the HAL error return state */
  __disable_irq();
  while (1)
  {
	  HAL_Delay(100);
	  HAL_GPIO_TogglePin(GPIOA, GPIO_PIN_5);
  }
  /* USER CODE END Error_Handler_Debug */
}

/************************ (C) COPYRIGHT STMicroelectronics *****END OF FILE****/
